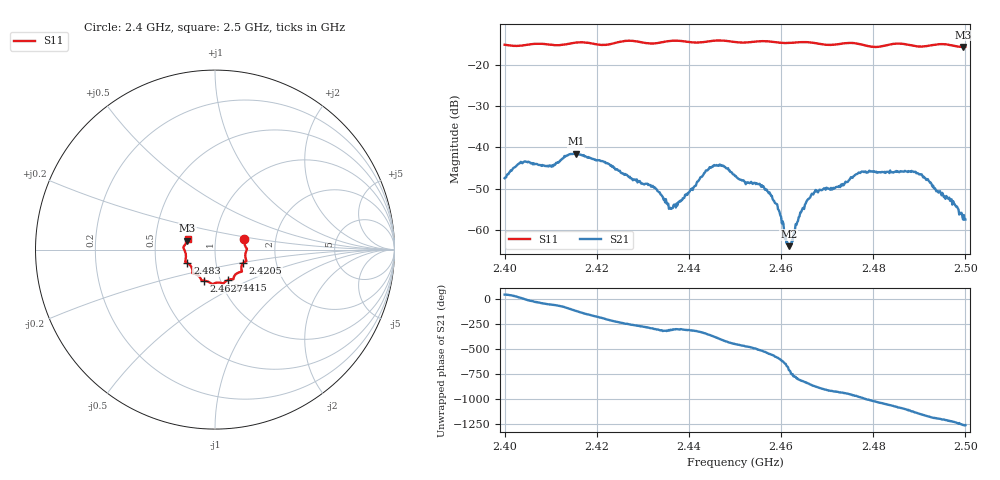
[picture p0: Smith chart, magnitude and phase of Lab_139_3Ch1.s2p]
# Hz S RI R 50
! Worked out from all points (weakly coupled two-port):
!   601 points, 2.4 GHz to 2.5 GHz, reference 50 ohm
!   highest |S21| = -41.48 dB at 2.4155 GHz (marker M1); lowest = -63.8 dB at 2.4617 GHz (marker M2)
!   lowest |S11| = -15.8 dB at 2.4995 GHz (marker M3), VSWR 1.39, Z = 36.4 + j3.79 ohm
!   |S11| at or under -10 dB: start of sweep to end of sweep
!   S12 and S22 are empty: the file has one direction only
!   S11 on the Smith chart (normalised r, x): 2.4 GHz: 1.38, +0.16; 2.4205 GHz: 1.35, -0.21; 2.4415 GHz: 1.09, -0.38; 2.4627 GHz: 0.84, -0.30; 2.483 GHz: 0.73, -0.11; 2.5 GHz: 0.73, +0.09
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2.4e9  0.1634 0.0576  0.00316 0.00286  0 0  0 0
2.403833e9  0.1687 0.0196  0.00642 0.000618  0 0  0 0
2.41e9  0.1728 -0.0106  0.00346 -0.00497  0 0  0 0
2.4155e9  0.174 -0.0598  -0.0043 -0.00725  0 0  0 0
2.416667e9  0.1745 -0.0635  -0.006 -0.0054  0 0  0 0
2.4205e9  0.156 -0.0757  -0.00701 0.000532  0 0  0 0
2.433333e9  0.1074 -0.1471  0.00176 0.00235  0 0  0 0
2.436167e9  0.1024 -0.1637  0.0012 0.00136  0 0  0 0
2.4415e9  0.0735 -0.1687  0.00267 0.00219  0 0  0 0
2.445667e9  0.0486 -0.1882  0.00564 -0.00221  0 0  0 0
2.45e9  0.0302 -0.1845  -0.000139 -0.00452  0 0  0 0
2.4575e9  -0.0215 -0.1886  -0.00283 0.000475  0 0  0 0
2.4595e9  -0.0341 -0.1808  -0.000975 0.00146  0 0  0 0
2.461667e9  -0.0527 -0.1739  0.000635 0.000107  0 0  0 0
2.462667e9  -0.061 -0.1728  0.000522 -0.000701  0 0  0 0
2.466667e9  -0.0768 -0.1672  -0.00216 -0.00172  0 0  0 0
2.477333e9  -0.1261 -0.1216  -0.000373 0.00501  0 0  0 0
2.483e9  -0.1541 -0.0752  0.00459 0.00214  0 0  0 0
2.483333e9  -0.1567 -0.0741  0.00468 0.00193  0 0  0 0
2.490167e9  -0.1624 -0.0279  0.00162 -0.00448  0 0  0 0
2.4995e9  -0.1547 0.0506  -0.00135 4.22e-07  0 0  0 0
2.5e9  -0.1529 0.0572  -0.00135 5.29e-05  0 0  0 0
